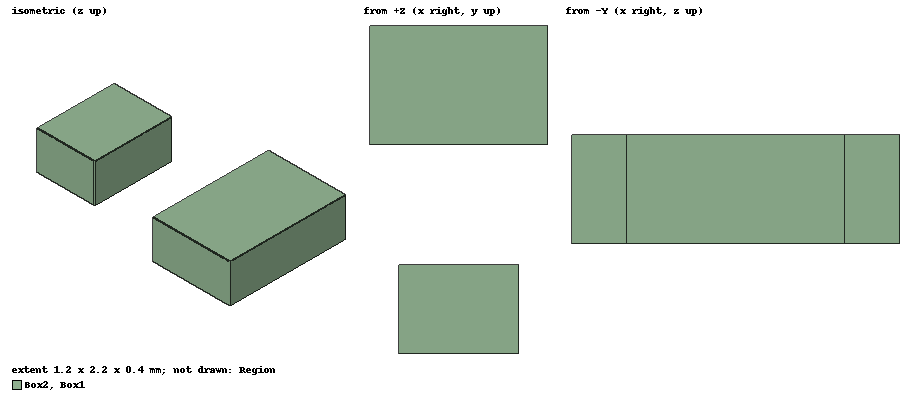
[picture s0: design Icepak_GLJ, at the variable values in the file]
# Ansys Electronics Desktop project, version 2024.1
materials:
  Al-Extruded: thermal_conductivity=205 mass_density=2800 specific_heat=900 youngs_modulus=69000000000 poissons_ratio=0.33 thermal_expansion_coefficient=2.277e-06 thermal_material_type=Solid
  air: permittivity=1.0006 permeability=1.0000004 thermal_conductivity=0.0261 mass_density=1.1614 specific_heat=1005 thermal_expansion_coefficient=0.00333 thermal_material_type=Fluid diffusivity=2.88e-05 molecular_mass=0.028966 viscosity=1.84e-05 material_refractive_index=1.000293
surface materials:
  Steel-oxidised-surface: surface_emissivity=0.8

design Icepak_GLJ (Icepak, SteadyState TemperatureAndFlow, model units mm)
options: Default_Fluid_Material=air Default_Solid_Material=Al-Extruded Default_Surface_Material=Steel-oxidised-surface AmbientTemperature=20cel AmbientPressure=0n_per_meter_sq AmbientRadiationTemperature=20cel Gravity_Vector_CS_ID=Global Gravity_Vector_Axis=Z Positive=false Altitude=0meter
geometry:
  Region [air] = region(percentage_offset=50 on all sides)
  Box1 [Al-Extruded] = box(corner=(0.6mm, -1mm, 0mm), size=(0.8mm, 0.6mm, 0.4mm))
  Box2 [Al-Extruded] = box(corner=(0.4mm, 0.4mm, 0mm), size=(1.2mm, 0.8mm, 0.4mm))
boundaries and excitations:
  Network1: Network Faces=Box1.face(+x, +z, +y) Box2.face(+x, +z, +y) Nodes{Face35{FaceID=Box1.face(+z) ThermalResistance=NoResistance Thickness=1mm Material=Al-Extruded Resistance=0cel_per_w Radiation="No Radiation" Surface_Material=Steel-oxidised-surface Temperature=25cel View_factor=1} Face39{FaceID=Box1.face(+y) ThermalResistance=NoResistance Thickness=1mm Material=Al-Extruded Resistance=0cel_per_w Radiation="No Radiation" Surface_Material=Steel-oxidised-surface Temperature=25cel View_factor=1} Face40{FaceID=Box1.face(+x) ThermalResistance=NoResistance Thickness=1mm Material=Al-Extruded Resistance=0cel_per_w Radiation="No Radiation" Surface_Material=Steel-oxidised-surface Temperature=25cel View_factor=1} Face63{FaceID=Box2.face(+z) ThermalResistance=NoResistance Thickness=1mm Material=Al-Extruded Resistance=0cel_per_w Radiation="No Radiation" Surface_Material=Steel-oxidised-surface Temperature=25cel View_factor=1} Face67{FaceID=Box2.face(+y) ThermalResistance=NoResistance Thickness=1mm Material=Al-Extruded Resistance=0cel_per_w Radiation="No Radiation" Surface_Material=Steel-oxidised-surface Temperature=25cel View_factor=1} Face68{FaceID=Box2.face(+x) ThermalResistance=NoResistance Thickness=1mm Material=Al-Extruded Resistance=0cel_per_w Radiation="No Radiation" Surface_Material=Steel-oxidised-surface Temperature=25cel View_factor=1} Internal{NodeType=InternalNode Power=0W Mass=0.001kg SpecificHeat=1000J_per_Kelkg}} Links{Link2(Face35, Internal, R-Link, R, 1cel_per_w) Link(Face39, Internal, R-Link, R, 1cel_per_w) Link1(Face40, Internal, R-Link, HTC, 5w_per_m2kel) Link3(Face63, Internal, R-Link, R, 1cel_per_w) Link4(Face67, Internal, R-Link, R, 1cel_per_w) Link5(Face68, Internal, R-Link, R, 1cel_per_w)} SchematicData{Face35{SchCompInst(0, 0.01524, 0) PropDisplayMap{Name(4, 5, 0, "Text(-0.00266035, 0.01267719, 0, 1, 5, false, 'Arial', 0, 'Face35', false, false, ExtentRect(0, 0, 0, 0, -9.84459966508989e-06, 0.013248068086226, 0.00530101080066982, 0.00179418827099594, 0, 0, 0))")}} Internal{SchCompInst(0.03302, -0.00254, 0) PropDisplayMap{Name(4, 5, 0, "Text(0.03035965, -0.00684881, 0, 1, 5, false, 'Arial', 0, 'Internal', false, false, ExtentRect(0, 0, 0, 0, 0.0328878243818579, -0.00627793191377402, 0.00505634876371583, 0.00179418827099594, 0, 0, 0))")}} Face39{SchCompInst(0, 0.01016, 0) PropDisplayMap{Name(4, 5, 0, "Text(-0.00266035, 0.00759719, 0, 1, 5, false, 'Arial', 0, 'Face39', false, false, ExtentRect(0, 0, 0, 0, -9.84459966508989e-06, 0.00816806808622598, 0.00530101080066982, 0.00179418827099594, 0, 0, 0))")}} Face67{SchCompInst(0, -0.01524, 0) PropDisplayMap{Name(4, 5, 0, "Text(-0.00266035, -0.01780281, 0, 1, 5, false, 'Arial', 0, 'Face67', false, false, ExtentRect(0, 0, 0, 0, -9.84459966508989e-06, -0.017231931913774, 0.00530101080066982, 0.00179418827099594, 0, 0, 0))")}} Face40{SchCompInst(0, 0.00508, 0) PropDisplayMap{Name(4, 5, 0, "Text(-0.00266035, 0.00251719, 0, 1, 5, false, 'Arial', 0, 'Face40', false, false, ExtentRect(0, 0, 0, 0, -9.84459966508989e-06, 0.00308806808622598, 0.00530101080066982, 0.00179418827099594, 0, 0, 0))")}} Face63{SchCompInst(0, -0.01016, 0) PropDisplayMap{Name(4, 5, 0, "Text(-0.00266035, -0.01272281, 0, 1, 5, false, 'Arial', 0, 'Face63', false, false, ExtentRect(0, 0, 0, 0, -9.84459966508989e-06, -0.012151931913774, 0.00530101080066982, 0.00179418827099594, 0, 0, 0))")}} Face68{SchCompInst(0, -0.02032, 0) PropDisplayMap{Name(4, 5, 0, "Text(-0.00266035, -0.02288281, 0, 1, 5, false, 'Arial', 0, 'Face68', false, false, ExtentRect(0, 0, 0, 0, -9.84459966508989e-06, -0.022311931913774, 0.00530101080066982, 0.00179418827099594, 0, 0, 0))")}} Link2{SchCompInst(0.0127, 0.01524, 0) PropDisplayMap{Name(4, 5, 0, "Text(0.01130965, 0.01266119, 0, 1, 5, false, 'Arial', 0, 'Link2', false, false, ExtentRect(0, 0, 0, 0, 0.0131446152771549, 0.013232068086226, 0.00366993055430988, 0.00179418827099594, 0, 0, 0))")}} Link{SchCompInst(0.0127, 0.01016, 0) PropDisplayMap{Name(4, 5, 0, "Text(0.01130965, 0.00758119, 0, 1, 5, false, 'Arial', 0, 'Link', false, false, ExtentRect(0, 0, 0, 0, 0.012696068209406, 0.00815206808622598, 0.00277283641881191, 0.00179418827099594, 0, 0, 0))")}} Link4{SchCompInst(0.0127, -0.01524, 0) PropDisplayMap{Name(4, 5, 0, "Text(0.01130965, -0.01781881, 0, 1, 5, false, 'Arial', 0, 'Link4', false, false, ExtentRect(0, 0, 0, 0, 0.0131446152771549, -0.017247931913774, 0.00366993055430988, 0.00179418827099594, 0, 0, 0))")}} Link5{SchCompInst(0.0127, -0.02032, 0) PropDisplayMap{Name(4, 5, 0, "Text(0.01130965, -0.02289881, 0, 1, 5, false, 'Arial', 0, 'Link5', false, false, ExtentRect(0, 0, 0, 0, 0.0131446152771549, -0.022327931913774, 0.00366993055430988, 0.00179418827099594, 0, 0, 0))")}} Link1{SchCompInst(0.0127, 0.00508, 0) PropDisplayMap{Name(4, 5, 0, "Text(0.01130965, 0.00250119, 0, 1, 5, false, 'Arial', 0, 'Link1', false, false, ExtentRect(0, 0, 0, 0, 0.0131446152771549, 0.00307206808622598, 0.00366993055430988, 0.00179418827099594, 0, 0, 0))")}} Link3{SchCompInst(0.0127, -0.01016, 0) PropDisplayMap{Name(4, 5, 0, "Text(0.01130965, -0.01273881, 0, 1, 5, false, 'Arial', 0, 'Link3', false, false, ExtentRect(0, 0, 0, 0, 0.0131446152771549, -0.012167931913774, 0.00366993055430988, 0.00179418827099594, 0, 0, 0))")}} WireData{Page{PageNet{NetName=Internal WireSeg(0.01778, 0.01524, 0.03302, 0.01524, 8) WireSeg(0.03302, 0.01524, 0.03302, 0.01016, 9) WireSeg(0.01778, 0.01016, 0.03302, 0.01016, 10) WireSeg(0.03302, 0.01016, 0.03302, 0.00508, 9) WireSeg(0.01778, 0.00508, 0.03302, 0.00508, 11) WireSeg(0.03302, 0.00508, 0.03302, -0.00254, 9) WireSeg(0.01778, -0.01016, 0.03302, -0.01016, 18) WireSeg(0.03302, -0.01016, 0.03302, -0.00254, 19) WireSeg(0.01778, -0.02032, 0.03302, -0.02032, 20) WireSeg(0.03302, -0.02032, 0.03302, -0.01524, 21) WireSeg(0.01778, -0.01524, 0.03302, -0.01524, 22) WireSeg(0.03302, -0.01524, 0.03302, -0.01016, 21) PC(11, n2) PC(9, n2) PC(7, n2) PC(5, n2) PC(3, n2) PC(1, n2) PC(2, n1)} PageNet{NetName=Face35 WireSeg(0.00762, 0.01524, 0, 0.01524, 12) PC(0, n1) PC(1, n1)} PageNet{NetName=Face39 WireSeg(0.00762, 0.01016, 0, 0.01016, 13) PC(4, n1) PC(3, n1)} PageNet{NetName=Face40 WireSeg(0.00762, 0.00508, 0, 0.00508, 14) PC(6, n1) PC(5, n1)} PageNet{NetName=Face63 WireSeg(0, -0.01016, 0.00762, -0.01016, 15) PC(8, n1) PC(7, n1)} PageNet{NetName=Face67 WireSeg(0, -0.01524, 0.00762, -0.01524, 16) PC(10, n1) PC(9, n1)} PageNet{NetName=Face68 WireSeg(0, -0.02032, 0.00762, -0.02032, 17) PC(12, n1) PC(11, n1)}}} NodeTailsHidden}
  Network2: Network Faces=Box1.face(+z) Box2.face(-z, +x) Nodes{Face35{FaceID=Box1.face(+z) ThermalResistance=NoResistance Thickness=1mm Material=Al-Extruded Resistance=0cel_per_w Radiation="No Radiation" Surface_Material=Steel-oxidised-surface Temperature=25cel View_factor=1} Face64{FaceID=Box2.face(-z) ThermalResistance=NoResistance Thickness=1mm Material=Al-Extruded Resistance=0cel_per_w Radiation="No Radiation" Surface_Material=Steel-oxidised-surface Temperature=25cel View_factor=1} Face68{FaceID=Box2.face(+x) ThermalResistance=NoResistance Thickness=1mm Material=Al-Extruded Resistance=0cel_per_w Radiation="No Radiation" Surface_Material=Steel-oxidised-surface Temperature=25cel View_factor=1} Internal{NodeType=InternalNode Power=0W Mass=0.001kg SpecificHeat=1000J_per_Kelkg}} Links{Link1(Face35, Face64, R-Link, R, 1cel_per_w) Link(Face35, Internal, R-Link, R, 1cel_per_w) Link2(Face64, Face68, R-Link, R, 1cel_per_w)} SchematicData{Internal{SchCompInst(0.02032, -0.01016, 0) PropDisplayMap{Name(4, 5, 0, "Text(0.01765965, -0.01446881, 0, 1, 5, false, 'Arial', 0, 'Internal', false, false, ExtentRect(0, 0, 0, 0, 0.0202825586959329, -0.0139223706883473, 0.00524581739186578, 0.0017728919889176, 0, 0, 0))")}} Face64{SchCompInst(0.02032, -0.00254, 0) PropDisplayMap{Name(4, 5, 0, "Text(0.01765965, -0.00510281, 0, 1, 5, false, 'Arial', 0, 'Face64', false, false, ExtentRect(0, 0, 0, 0, 0.0202947017917474, -0.00455637068834731, 0.00527010358349479, 0.0017728919889176, 0, 0, 0))")}} Face35{SchCompInst(0.01016, -0.00254, 0) PropDisplayMap{Name(4, 5, 0, "Text(0.00749965, -0.00510281, 0, 1, 5, false, 'Arial', 0, 'Face35', false, false, ExtentRect(0, 0, 0, 0, 0.0101347017917474, -0.00455637068834731, 0.00527010358349479, 0.0017728919889176, 0, 0, 0))")}} Face68{SchCompInst(0.03048, -0.00254, 0) PropDisplayMap{Name(4, 5, 0, "Text(0.02781965, -0.00510281, 0, 1, 5, false, 'Arial', 0, 'Face68', false, false, ExtentRect(0, 0, 0, 0, 0.0304547017917474, -0.00455637068834731, 0.00527010358349479, 0.0017728919889176, 0, 0, 0))")}} Link{SchCompInst(0.0127, -0.01016, 0) PropDisplayMap{Name(4, 5, 0, "Text(0.01130965, -0.01273881, 0, 1, 5, false, 'Arial', 0, 'Link', false, false, ExtentRect(0, 0, 0, 0, 0.012754678401926, -0.0121923706883473, 0.00289005680385198, 0.0017728919889176, 0, 0, 0))")}} Link2{SchCompInst(0.02794, 0.00254, 0) PropDisplayMap{Name(4, 5, 0, "Text(0.02654965, -3.88099999999989e-05, 0, 1, 5, false, 'Arial', 0, 'Link2', false, false, ExtentRect(0, 0, 0, 0, 0.0284318298512481, 0.000507629311652687, 0.00376435970249628, 0.0017728919889176, 0, 0, 0))")}} Link1{SchCompInst(0.01524, 0.00254, 0) PropDisplayMap{Name(4, 5, 0, "Text(0.01384965, -3.88099999999989e-05, 0, 1, 5, false, 'Arial', 0, 'Link1', false, false, ExtentRect(0, 0, 0, 0, 0.0157318298512481, 0.000507629311652687, 0.00376435970249628, 0.0017728919889176, 0, 0, 0))")}} WireData{Page{PageNet{NetName=Internal WireSeg(0.02032, -0.01016, 0.01778, -0.01016, 21) PC(91, n1) PC(93, n2)} PageNet{NetName=Face35 WireSeg(0.00762, -0.01016, 0.00762, -0.00254, 19) WireSeg(0.00762, -0.00254, 0.01016, -0.00254, 20) WireSeg(0.01016, -0.00254, 0.01016, 0.00254, 22) PC(93, n1) PC(13, n1) PC(95, n1)} PageNet{NetName=Face64 WireSeg(0.02032, 0.00254, 0.02032, -0.00254, 23) WireSeg(0.02032, -0.00254, 0.02286, -0.00254, 24) WireSeg(0.02286, -0.00254, 0.02286, 0.00254, 25) PC(95, n2) PC(14, n1) PC(97, n1)} PageNet{NetName=Face68 WireSeg(0.03302, 0.00254, 0.03302, -0.00254, 26) WireSeg(0.03302, -0.00254, 0.03048, -0.00254, 27) PC(97, n2) PC(15, n1)}}} NodeTailsHidden}
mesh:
  Global:  MeshMethod=MesherHD ComputeGap MeshRegionResolution=3 MinGapX=1mm MinGapY=1mm MinGapZ=1mm Objects=Region FacetLevel=3 ProximitySizeFunction CurvatureSizeFunction OptimizePCBMesh
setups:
  Setup1: IcepakSteadyState Flow_Regime=Laminar Include_Temperature=true Include_Flow=true Convergence_Criteria_-_Flow=0.001 Convergence_Criteria_-_Energy=1e-07 GPU_Convergence_Criteria_-_Flow=0.001 GPU_Convergence_Criteria_-_Energy=1e-05 disabled Radiation_Model=Off Under-relaxation_-_Pressure=0.3 Under-relaxation_-_Momentum=0.7 Under-relaxation_-_Temperature=1 Discretization_Scheme_-_Pressure=Standard Discretization_Scheme_-_Momentum=First Discretization_Scheme_-_Temperature=First Convergence_Criteria_-_Max_Iterations=100
